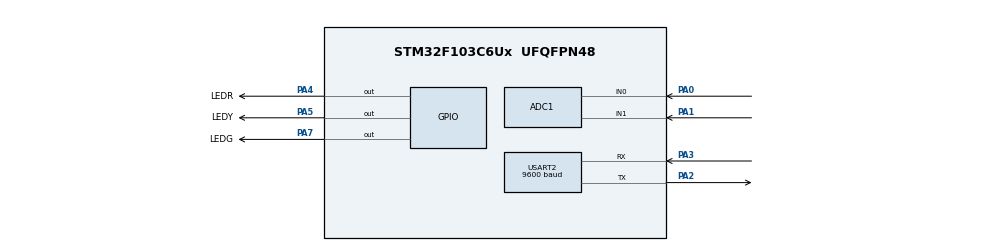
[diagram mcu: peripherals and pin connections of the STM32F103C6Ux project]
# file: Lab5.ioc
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ADC1.Channel-1\#ChannelRegularConversion=ADC_CHANNEL_1
ADC1.Channel-2\#ChannelRegularConversion=ADC_CHANNEL_0
ADC1.ContinuousConvMode=ENABLE
ADC1.NbrOfConversion=2
ADC1.NbrOfConversionFlag=1
ADC1.Rank-1\#ChannelRegularConversion=1
ADC1.Rank-2\#ChannelRegularConversion=2
ADC1.SamplingTime-1\#ChannelRegularConversion=ADC_SAMPLETIME_1CYCLE_5
ADC1.SamplingTime-2\#ChannelRegularConversion=ADC_SAMPLETIME_1CYCLE_5
ADC1.master=1
Mcu.Family=STM32F1
Mcu.Name=STM32F103C6Ux
Mcu.Package=UFQFPN48
NVIC.ADC1_2_IRQn=true\:0\:0\:false\:false\:true\:true\:true\:true
NVIC.PriorityGroup=NVIC_PRIORITYGROUP_4
NVIC.TIM2_IRQn=true\:0\:0\:false\:false\:true\:true\:true\:true
NVIC.USART2_IRQn=true\:0\:0\:false\:false\:true\:true\:true\:true
PA0-WKUP.Signal=ADCx_IN0
PA1.Signal=ADCx_IN1
PA2.Mode=Asynchronous
PA2.Signal=USART2_TX
PA3.Mode=Asynchronous
PA3.Signal=USART2_RX
PA4.GPIO_Label=LEDR
PA4.Signal=GPIO_Output
PA5.GPIO_Label=LEDY
PA5.Signal=GPIO_Output
PA6.Signal=S_TIM3_CH1
PA7.GPIO_Label=LEDG
PA7.Signal=GPIO_Output
ProjectManager.HeapSize=0x200
ProjectManager.StackSize=0x400
ProjectManager.TargetToolchain=STM32CubeIDE
RCC.APB1Freq_Value=8000000
RCC.APB2Freq_Value=8000000
SH.ADCx_IN0.0=ADC1_IN0,IN0
SH.ADCx_IN1.0=ADC1_IN1,IN1
SH.S_TIM3_CH1.0=TIM3_CH1
TIM2.Period=9
TIM2.Prescaler=7999
USART2.BaudRate=9600
USART2.VirtualMode=VM_ASYNC
VP_TIM2_VS_ClockSourceINT.Mode=Internal
board=custom

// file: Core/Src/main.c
/* USER CODE BEGIN Header */
/**
  ******************************************************************************
  * @file           : main.c
  * @brief          : Main program body
  ******************************************************************************
  * @attention
  *
  * Copyright (c) 2022 STMicroelectronics.
  * All rights reserved.
  *
  * This software is licensed under terms that can be found in the LICENSE file
  * in the root directory of this software component.
  * If no LICENSE file comes with this software, it is provided AS-IS.
  *
  ******************************************************************************
  */
/* USER CODE END Header */
#include "main.h"

/* USER CODE BEGIN Includes */
#include "string.h"
#include "softTimer.h"
/* USER CODE END Includes */

/* USER CODE BEGIN PD */
#define MAX_BUFFER_SIZE 30
#define STATE_INIT	  0
#define STATE_REQUEST 1
#define STATE_SENDING 2

#define REQUEST_LEN	 5
#define SENDING_LEN	 5
uint8_t temp = 0;
uint8_t buffer[MAX_BUFFER_SIZE];
uint8_t index_buffer = 0;
uint8_t buffer_flag = 0;

int mode = STATE_INIT;
int len = REQUEST_LEN;
int ADC_val;
int ADC_val1;

char str[50];
char *init_char = (char*)"!RST#";
char *send_char = (char*)"!OK#";
/* USER CODE END PD */

ADC_HandleTypeDef hadc1;

TIM_HandleTypeDef htim2;

UART_HandleTypeDef huart2;

void SystemClock_Config(void);
static void MX_GPIO_Init(void);
static void MX_ADC1_Init(void);
static void MX_USART2_UART_Init(void);
static void MX_TIM2_Init(void);
/* USER CODE BEGIN PFP */
void ADC_Select_CH0(void);
void ADC_Select_CH1(void);
/* USER CODE END PFP */

/* USER CODE BEGIN 0 */
void command_parser_fsm();
void uart_communiation_fsm();
/* USER CODE END 0 */

int main(void)
{

  /* MCU Configuration--------------------------------------------------------*/

  /* Reset of all peripherals, Initializes the Flash interface and the Systick. */
  HAL_Init();

  /* Configure the system clock */
  SystemClock_Config();

  /* Initialize all configured peripherals */
  MX_GPIO_Init();
  MX_ADC1_Init();
  MX_USART2_UART_Init();
  MX_TIM2_Init();
  /* USER CODE BEGIN 2 */
  HAL_UART_Receive_IT(&huart2, &temp, 1);
  HAL_TIM_Base_Start_IT(&htim2);
  HAL_ADC_Start(&hadc1);

  //HAL_ADC_Start(&hadc2);
  /* USER CODE END 2 */

  /* Infinite loop */
  /* USER CODE BEGIN WHILE */
  HAL_GPIO_WritePin(LEDY_GPIO_Port, LEDY_Pin,1);
  HAL_GPIO_WritePin(LEDR_GPIO_Port, LEDR_Pin,1);

  while (1){
    /* USER CODE END WHILE */

    /* USER CODE BEGIN 3 */
	if (buffer_flag == 1){
		command_parser_fsm();
		buffer_flag = 0;
	}
	uart_communiation_fsm();

  }
  /* USER CODE END 3 */
}

void SystemClock_Config(void)
{
  RCC_OscInitTypeDef RCC_OscInitStruct = {0};
  RCC_ClkInitTypeDef RCC_ClkInitStruct = {0};
  RCC_PeriphCLKInitTypeDef PeriphClkInit = {0};

  /** Initializes the RCC Oscillators according to the specified parameters
  * in the RCC_OscInitTypeDef structure.
  */
  RCC_OscInitStruct.OscillatorType = RCC_OSCILLATORTYPE_HSI;
  RCC_OscInitStruct.HSIState = RCC_HSI_ON;
  RCC_OscInitStruct.HSICalibrationValue = RCC_HSICALIBRATION_DEFAULT;
  RCC_OscInitStruct.PLL.PLLState = RCC_PLL_NONE;
  if (HAL_RCC_OscConfig(&RCC_OscInitStruct) != HAL_OK)
  {
    Error_Handler();
  }

  /** Initializes the CPU, AHB and APB buses clocks
  */
  RCC_ClkInitStruct.ClockType = RCC_CLOCKTYPE_HCLK|RCC_CLOCKTYPE_SYSCLK
                              |RCC_CLOCKTYPE_PCLK1|RCC_CLOCKTYPE_PCLK2;
  RCC_ClkInitStruct.SYSCLKSource = RCC_SYSCLKSOURCE_HSI;
  RCC_ClkInitStruct.AHBCLKDivider = RCC_SYSCLK_DIV1;
  RCC_ClkInitStruct.APB1CLKDivider = RCC_HCLK_DIV1;
  RCC_ClkInitStruct.APB2CLKDivider = RCC_HCLK_DIV1;

  if (HAL_RCC_ClockConfig(&RCC_ClkInitStruct, FLASH_LATENCY_0) != HAL_OK)
  {
    Error_Handler();
  }
  PeriphClkInit.PeriphClockSelection = RCC_PERIPHCLK_ADC;
  PeriphClkInit.AdcClockSelection = RCC_ADCPCLK2_DIV2;
  if (HAL_RCCEx_PeriphCLKConfig(&PeriphClkInit) != HAL_OK)
  {
    Error_Handler();
  }
}

static void MX_ADC1_Init(void)
{

  ADC_ChannelConfTypeDef sConfig = {0};

  /** Common config
  */
  hadc1.Instance = ADC1;
  hadc1.Init.ScanConvMode = ADC_SCAN_ENABLE;
  hadc1.Init.ContinuousConvMode = ENABLE;
  hadc1.Init.DiscontinuousConvMode = DISABLE;
  hadc1.Init.ExternalTrigConv = ADC_SOFTWARE_START;
  hadc1.Init.DataAlign = ADC_DATAALIGN_RIGHT;
  hadc1.Init.NbrOfConversion = 2;
  if (HAL_ADC_Init(&hadc1) != HAL_OK)
  {
    Error_Handler();
  }

  /** Configure Regular Channel
  */
  sConfig.Channel = ADC_CHANNEL_1;
  sConfig.Rank = ADC_REGULAR_RANK_1;
  sConfig.SamplingTime = ADC_SAMPLETIME_1CYCLE_5;
  if (HAL_ADC_ConfigChannel(&hadc1, &sConfig) != HAL_OK)
  {
    Error_Handler();
  }

  /** Configure Regular Channel
  */
  sConfig.Channel = ADC_CHANNEL_0;
  sConfig.Rank = ADC_REGULAR_RANK_2;
  if (HAL_ADC_ConfigChannel(&hadc1, &sConfig) != HAL_OK)
  {
    Error_Handler();
  }

}

static void MX_TIM2_Init(void)
{

  TIM_ClockConfigTypeDef sClockSourceConfig = {0};
  TIM_MasterConfigTypeDef sMasterConfig = {0};

  htim2.Instance = TIM2;
  htim2.Init.Prescaler = 7999;
  htim2.Init.CounterMode = TIM_COUNTERMODE_UP;
  htim2.Init.Period = 9;
  htim2.Init.ClockDivision = TIM_CLOCKDIVISION_DIV1;
  htim2.Init.AutoReloadPreload = TIM_AUTORELOAD_PRELOAD_DISABLE;
  if (HAL_TIM_Base_Init(&htim2) != HAL_OK)
  {
    Error_Handler();
  }
  sClockSourceConfig.ClockSource = TIM_CLOCKSOURCE_INTERNAL;
  if (HAL_TIM_ConfigClockSource(&htim2, &sClockSourceConfig) != HAL_OK)
  {
    Error_Handler();
  }
  sMasterConfig.MasterOutputTrigger = TIM_TRGO_RESET;
  sMasterConfig.MasterSlaveMode = TIM_MASTERSLAVEMODE_DISABLE;
  if (HAL_TIMEx_MasterConfigSynchronization(&htim2, &sMasterConfig) != HAL_OK)
  {
    Error_Handler();
  }

}

static void MX_USART2_UART_Init(void)
{

  huart2.Instance = USART2;
  huart2.Init.BaudRate = 9600;
  huart2.Init.WordLength = UART_WORDLENGTH_8B;
  huart2.Init.StopBits = UART_STOPBITS_1;
  huart2.Init.Parity = UART_PARITY_NONE;
  huart2.Init.Mode = UART_MODE_TX_RX;
  huart2.Init.HwFlowCtl = UART_HWCONTROL_NONE;
  huart2.Init.OverSampling = UART_OVERSAMPLING_16;
  if (HAL_UART_Init(&huart2) != HAL_OK)
  {
    Error_Handler();
  }

}

static void MX_GPIO_Init(void)
{
  GPIO_InitTypeDef GPIO_InitStruct = {0};

  /* GPIO Ports Clock Enable */
  __HAL_RCC_GPIOA_CLK_ENABLE();

  /*Configure GPIO pin Output Level */
  HAL_GPIO_WritePin(GPIOA, LEDR_Pin|LEDY_Pin|LEDG_Pin, GPIO_PIN_RESET);

  /*Configure GPIO pins : LEDR_Pin LEDY_Pin LEDG_Pin */
  GPIO_InitStruct.Pin = LEDR_Pin|LEDY_Pin|LEDG_Pin;
  GPIO_InitStruct.Mode = GPIO_MODE_OUTPUT_PP;
  GPIO_InitStruct.Pull = GPIO_NOPULL;
  GPIO_InitStruct.Speed = GPIO_SPEED_FREQ_LOW;
  HAL_GPIO_Init(GPIOA, &GPIO_InitStruct);

  /*Configure GPIO pin : PA6 */
  GPIO_InitStruct.Pin = GPIO_PIN_6;
  GPIO_InitStruct.Mode = GPIO_MODE_AF_PP;
  GPIO_InitStruct.Speed = GPIO_SPEED_FREQ_LOW;
  HAL_GPIO_Init(GPIOA, &GPIO_InitStruct);

}

/* USER CODE BEGIN 4 */
void HAL_UART_RxCpltCallback(UART_HandleTypeDef *huart){
	uint8_t *stop_character = (uint8_t*)"s";
	if (huart->Instance == USART2){

		if (temp == *stop_character){
			HAL_GPIO_TogglePin(LEDG_GPIO_Port, LEDG_Pin);
			buffer_flag = 1;
		} else {
			buffer[index_buffer] = temp;
			index_buffer = (index_buffer + 1) % MAX_BUFFER_SIZE;
		}

		HAL_UART_Receive_IT(&huart2, &temp, 1);
	}
}
void HAL_TIM_PeriodElapsedCallback(TIM_HandleTypeDef* htim) {
    //HAL_GPIO_TogglePin(LEDG_GPIO_Port, LEDG_Pin);
	timerRun();
}

void command_parser_fsm(){
	char *string_translate;

	string_translate = (char*)buffer;
	HAL_GPIO_TogglePin(LEDG_GPIO_Port, LEDG_Pin);
	switch (mode){
		case STATE_INIT:
			if (strcmp(string_translate, init_char) == 0) mode = STATE_REQUEST;
			break;
		case STATE_SENDING:
			if (strcmp(string_translate, send_char) == 0) mode = STATE_INIT;
			break;
		default: break;
	}
	for (int i=0; i<MAX_BUFFER_SIZE; i++){
		buffer[i] = 0;
		index_buffer = 0;
	}

}
void uart_communiation_fsm(){
	switch (mode){
		case STATE_INIT:
			HAL_GPIO_WritePin(LEDY_GPIO_Port, LEDY_Pin, 0);
			HAL_GPIO_WritePin(LEDR_GPIO_Port, LEDR_Pin, 1);

			//ADC_val = HAL_ADC_GetValue(&hadc1);

			//read adc value
			ADC_Select_CH0();
			HAL_ADC_Start(&hadc1);
			HAL_ADC_PollForConversion(&hadc1, 1000);
			ADC_val = HAL_ADC_GetValue(&hadc1);
			HAL_ADC_Stop(&hadc1);
			//HAL_Delay(10);

			ADC_Select_CH1();
			HAL_ADC_Start(&hadc1);
			HAL_ADC_PollForConversion(&hadc1, 1000);
			ADC_val1 = HAL_ADC_GetValue(&hadc1);
			HAL_ADC_Stop(&hadc1);

			break;
		case STATE_REQUEST:
			HAL_GPIO_WritePin(LEDY_GPIO_Port, LEDY_Pin, 1);
			HAL_GPIO_WritePin(LEDR_GPIO_Port, LEDR_Pin, 1);

			//send adc value
			HAL_UART_Transmit(&huart2, (uint8_t *)str, sprintf(str, "*LIGHT:%d/*TEMP:%d/\r\n", ADC_val, ADC_val1), 1000);

			//set waiting time
			timerSet(50);
			timerFlag = 0;
			mode = STATE_SENDING;
			break;
		case STATE_SENDING:
			HAL_GPIO_WritePin(LEDY_GPIO_Port, LEDY_Pin, 1);
			HAL_GPIO_WritePin(LEDR_GPIO_Port, LEDR_Pin, 0);

			// time out, send again
			if (isTimeOut()) mode = STATE_REQUEST;
		default: break;
	}

}
void ADC_Select_CH0(void){
	  ADC_ChannelConfTypeDef sConfig = {0};
	 sConfig.Channel = ADC_CHANNEL_0;
	 sConfig.Rank = ADC_REGULAR_RANK_2;
	 sConfig.SamplingTime = ADC_SAMPLETIME_239CYCLES_5;
	 if (HAL_ADC_ConfigChannel(&hadc1, &sConfig) != HAL_OK)
	 {
		 Error_Handler();
	 }
}
void ADC_Select_CH1(void){
	  ADC_ChannelConfTypeDef sConfig = {0};
	sConfig.Channel = ADC_CHANNEL_1;
	 sConfig.Rank = ADC_REGULAR_RANK_1;
	 sConfig.SamplingTime = ADC_SAMPLETIME_239CYCLES_5;
	 if (HAL_ADC_ConfigChannel(&hadc1, &sConfig) != HAL_OK)
	 {
		 Error_Handler();
	 }
}

/* USER CODE END 4 */

void Error_Handler(void)
{
  __disable_irq();
  while (1)
  {
  }
}
